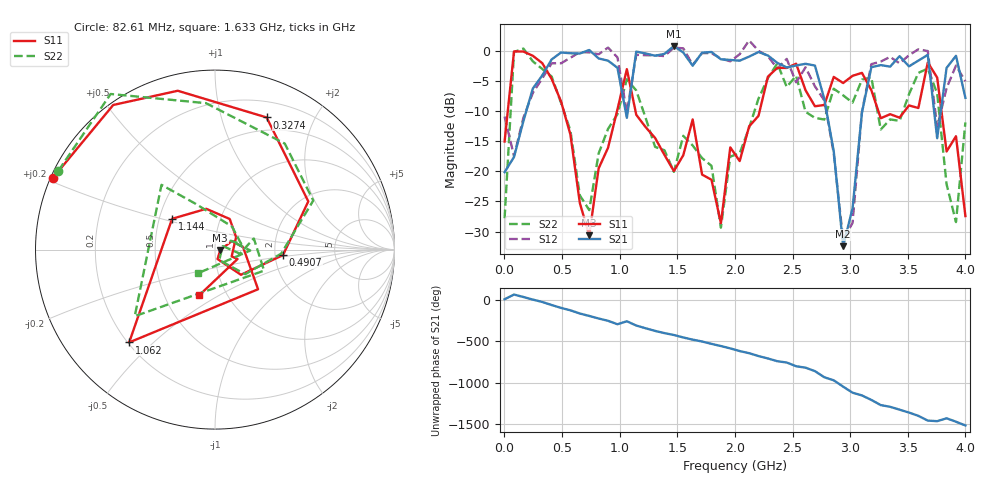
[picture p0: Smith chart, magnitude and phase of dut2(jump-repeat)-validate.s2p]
!Created with skrf (http://scikit-rf.org).
# GHz S DB R 50.0
!freq dBS11 angS11 dBS21 angS21 dBS12 angS12 dBS22 angS22
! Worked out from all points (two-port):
!   50 points, 1 MHz to 4 GHz, reference 50 ohm
!   highest |S21| = 0.77 dB at 1.47 GHz (marker M1); lowest = -32.4 dB at 2.939 GHz (marker M2)
!   |S21| within 3 dB of the highest: 384.8 MHz to 939.3 MHz (554.5 MHz wide, 83.7 % of centre); 1.643 GHz to 2.391 GHz (748.9 MHz wide, 37.1 % of centre)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
!   lowest |S11| = -30.6 dB at 735.5 MHz (marker M3), VSWR 1.06, Z = 53 - j0.265 ohm
!   |S11| at or under -10 dB: 514.3 MHz to 976.9 MHz (462.6 MHz wide, 62 % of centre); 1.137 GHz to 2.215 GHz (1.078 GHz wide, 64.3 % of centre); 3.245 GHz to 3.473 GHz (228.2 MHz wide, 6.8 % of centre)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
!   |S22| runs from -29.4 to 0.4 dB; largest |S21 - S12| = 0.33
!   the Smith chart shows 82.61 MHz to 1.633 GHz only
!   S11 on the Smith chart (normalised r, x): 82.61 MHz: 0.01, +0.21; 327.4 MHz: 0.36, +1.40; 490.7 MHz: 2.21, -0.16; 1.062 GHz: 0.21, -0.42; 1.144 GHz: 0.58, +0.22; 1.633 GHz: 0.74, -0.41
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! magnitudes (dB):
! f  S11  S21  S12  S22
! 1 MHz  -15.1  -20.1  -10.9  -27.8
! 82.61 MHz  -0.1  -17.6  -17.5  -0.2
! 327.4 MHz  -2.0  -4.1  -4.6  -3.0
! 490.7 MHz  -8.4  -0.3  -2.1  -8.6
! 735.5 MHz  -30.6  0.1  -0.3  -26.4
! 1.062 GHz  -3.0  -11.1  -10.2  -4.7
! 1.144 GHz  -10.6  -0.1  -0.7  -6.6
! 1.388 GHz  -17.3  -0.5  -0.9  -16.5
! 1.47 GHz  -20.0  0.8  0.5  -20.1
! 1.633 GHz  -11.4  -2.5  -2.3  -15.7
! 1.878 GHz  -28.6  -1.4  -1.3  -29.4
! 1.96 GHz  -16.0  -1.5  -1.8  -17.6
! 2.041 GHz  -18.3  -1.6  -0.6  -17.0
! 2.368 GHz  -2.8  -2.0  -2.9  -2.1
! 2.694 GHz  -9.2  -2.5  -5.9  -11.1
! 2.939 GHz  -5.4  -32.4  -31.3  -7.4
! 3.184 GHz  -6.5  -2.7  -2.2  -4.4
! 3.347 GHz  -10.5  -2.6  -1.0  -11.4
! 3.674 GHz  -1.9  -0.7  0.0  -3.0
! 3.755 GHz  -4.4  -14.5  -12.6  -7.1
! 3.918 GHz  -14.2  -0.8  -2.5  -28.4
! 4 GHz  -27.4  -7.8  -5.1  -11.9
